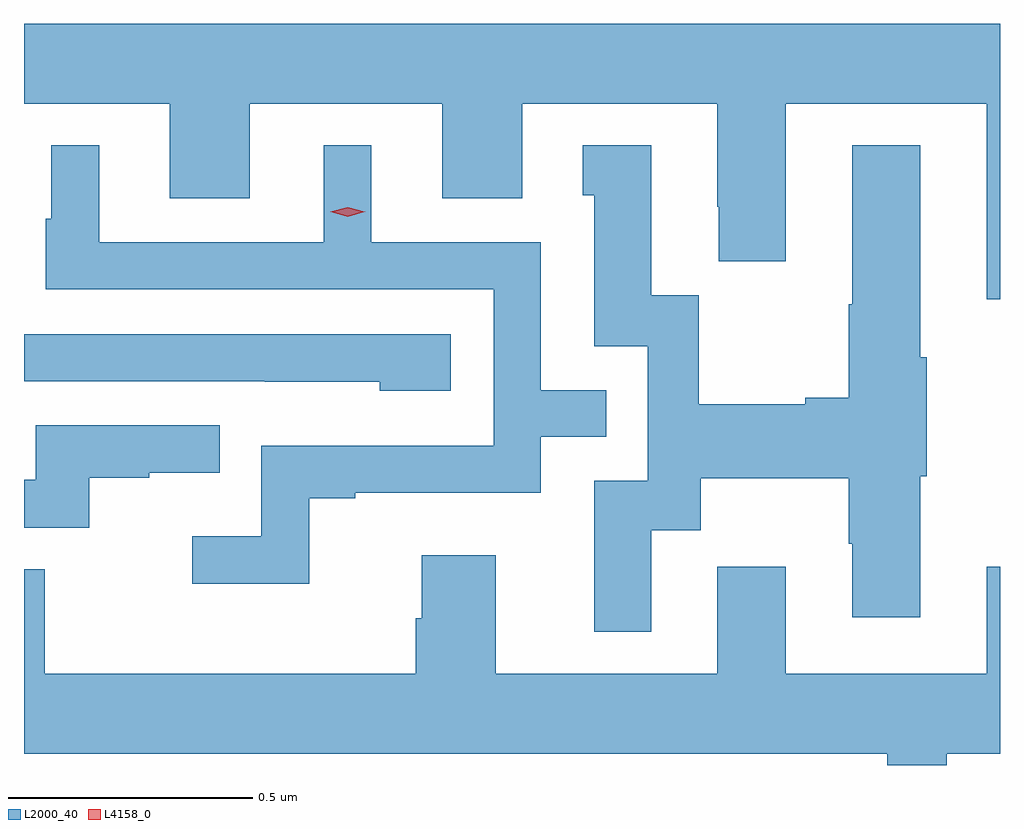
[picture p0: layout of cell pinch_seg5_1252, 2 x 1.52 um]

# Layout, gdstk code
import gdstk
lib = gdstk.Library(unit=1e-6, precision=1e-09)
def P(c, l, *ps):  # polygons
    for p in ps: c.add(gdstk.Polygon(p, *l))
L2000_40 = (2000, 40)
L4158_0 = (4158, 0)

pinch_seg5_1252 = lib.new_cell('pinch_seg5_1252')
P(pinch_seg5_1252, L2000_40, [(416.438,890.224),(414.438,890.224),(414.438,890.06),(414.737,890.06),(414.737,889.866),(414.901,889.866),(414.901,890.06),(415.295,890.06),(415.295,889.866),(415.459,889.866),(415.459,890.06),(415.859,890.06),(415.859,889.849),(415.862,889.849),(415.862,889.737),(415.999,889.737),(415.999,890.06),(416.411,890.06),(416.411,889.659),(416.438,889.659)],
  [(415.023,889.251),(415.117,889.251),(415.117,889.263),(415.497,889.263),(415.497,889.377),(415.631,889.377),(415.631,889.473),(415.497,889.473),(415.497,889.776),(415.15,889.776),(415.15,889.975),(415.052,889.975),(415.052,889.776),(414.592,889.776),(414.592,889.975),(414.494,889.975),(414.494,889.824),(414.483,889.824),(414.483,889.68),(415.401,889.68),(415.401,889.359),(414.924,889.359),(414.924,889.174),(414.783,889.174),(414.783,889.076),(415.023,889.076)],
  [(415.723,889.186),(415.825,889.186),(415.825,889.292),(416.128,889.292),(416.128,889.158),(416.135,889.158),(416.135,889.008),(416.275,889.008),(416.275,889.296),(416.288,889.296),(416.288,889.54),(416.275,889.54),(416.275,889.975),(416.135,889.975),(416.135,889.649),(416.128,889.649),(416.128,889.457),(416.039,889.457),(416.039,889.444),(415.821,889.444),(415.821,889.667),(415.723,889.667),(415.723,889.975),(415.583,889.975),(415.583,889.872),(415.607,889.872),(415.607,889.563),(415.716,889.563),(415.716,889.287),(415.607,889.287),(415.607,888.978),(415.723,888.978)],
  [(415.312,889.587),(414.438,889.587),(414.438,889.491),(414.931,889.491),(414.931,889.49),(415.167,889.49),(415.167,889.472),(415.312,889.472)],
  [(414.572,889.293),(414.695,889.293),(414.695,889.304),(414.839,889.304),(414.839,889.401),(414.462,889.401),(414.462,889.289),(414.438,889.289),(414.438,889.191),(414.572,889.191)],
  [(416.207,888.704),(416.329,888.704),(416.329,888.728),(416.438,888.728),(416.438,889.111),(416.411,889.111),(416.411,888.892),(415.999,888.892),(415.999,889.111),(415.859,889.111),(415.859,888.892),(415.405,888.892),(415.405,889.135),(415.253,889.135),(415.253,889.005),(415.241,889.005),(415.241,888.892),(414.481,888.892),(414.481,889.106),(414.438,889.106),(414.438,888.728),(416.207,888.728)])
P(pinch_seg5_1252, L4158_0, [(415.101,889.828),(415.066,889.838),(415.065,889.838),(415.066,889.838),(415.101,889.848),(415.136,889.838),(415.137,889.838),(415.136,889.838)])

lib.write_gds('pinch_seg5_1252.gds')
